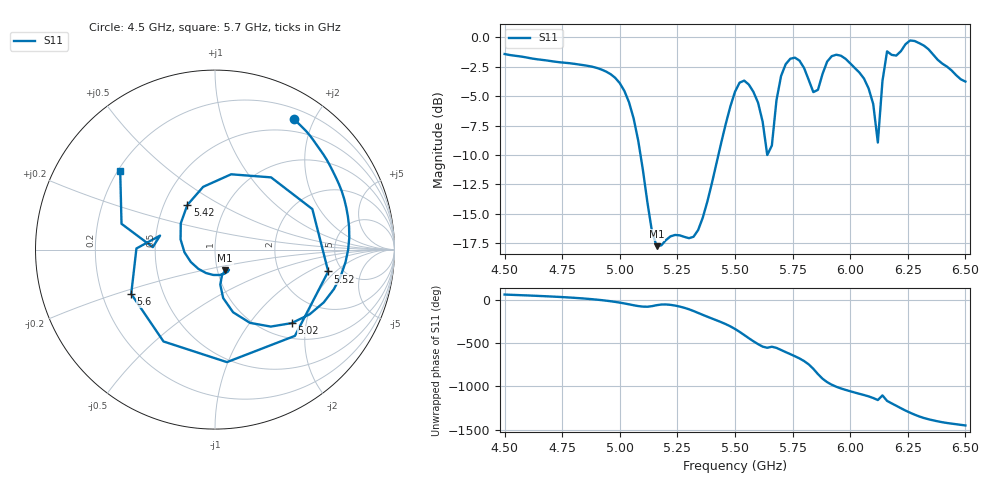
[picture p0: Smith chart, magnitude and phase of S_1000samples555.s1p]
! TOUCHSTONE file generated by CST MICROWAVE STUDIO
! Date and time: Fri Oct 28 14:02:34 2022
! Project name: L.cst
! Parameters = {Di=1.27; Epsilon_r=1.56; InnerDiameter=1.27; Length=2; Lf=10; Lg=60; OuterConductorThickness=0.2921; OuterDiameter=3.6; Wf=3; Wp=41.2; de=1.5; df=6.8; g=0.8; gx=1.28958; gy=1.31027; h=2.34; hf=1.524; px=9.23694; py=14.4824; w=9.7; wx=7.94736; wy=13.1721}
! Header version: 2018
! Port assignment regex: !\s*Touchstone port\s*([0-9]+)\s*=\s*(CST MWS port|CST DS port)\s*([0-9]+|Zmin|Zmax)\s*\(\"(.*)\"\)(\s*mode\s*([0-9]+))?.*
! Touchstone port assignment:
! Touchstone port 1 = CST MWS port 1 ("")
# GHz S DB R 50
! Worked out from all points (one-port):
!   101 points, 4.5 GHz to 6.5 GHz, reference 50 ohm
!   lowest |S11| = -17.8 dB at 5.16 GHz (marker M1), VSWR 1.30, Z = 54.5 - j12.9 ohm
!   |S11| at or under -10 dB: 5.09 GHz to 5.428 GHz (338.1 MHz wide, 6.43 % of centre); 5.639945 GHz to 5.640193 GHz (247.8 kHz wide, 0.00439 % of centre)
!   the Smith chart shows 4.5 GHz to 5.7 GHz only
!   S11 on the Smith chart (normalised r, x): 4.5 GHz: 0.33, +1.73; 5.02 GHz: 1.31, -1.65; 5.42 GHz: 0.66, +0.36; 5.52 GHz: 3.88, -1.61; 5.6 GHz: 0.33, -0.22; 5.7 GHz: 0.21, +0.35
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4.5  -1.41 58.7
4.76  -2.15 27.9
5  -3.89 -34.3
5.02  -4.56 -43.8
5.16  -17.77 -63.8
5.26  -16.85 -79.7
5.42  -10.68 121.8
5.5  -4.62 22.6
5.52  -3.84 -10.9
5.56  -4.01 -84.0
5.6  -5.55 -152.1
5.64  -10.01 165.7
5.7  -3.27 140.3
5.76  -1.71 68.6
5.8  -2.61 12.7
5.84  -4.65 -76.6
5.88  -3.10 169.5
5.92  -1.59 100.2
6  -2.20 25.2
6.06  -3.50 -18.6
6.12  -8.95 -76.2
6.14  -3.71 -22.6
6.16  -1.18 -85.7
6.22  -1.17 -170.2
6.26  -0.25 138.1
6.3  -0.49 94.5
6.36  -1.45 50.2
6.5  -3.75 -8.8
